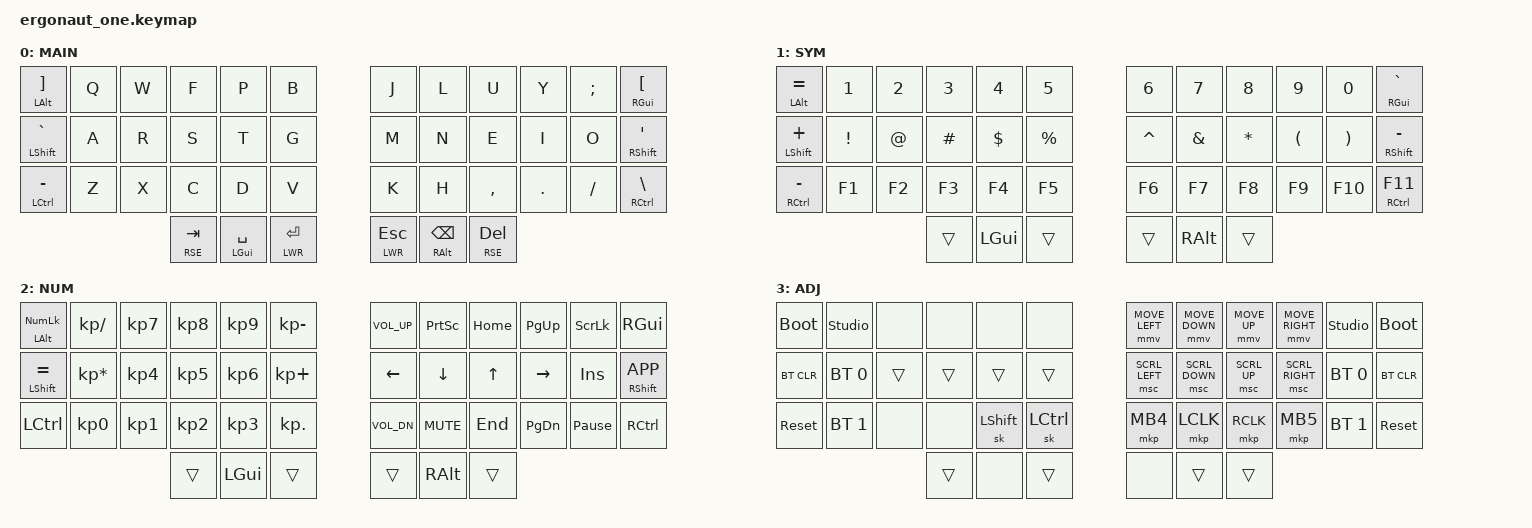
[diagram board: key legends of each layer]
#include <behaviors.dtsi>
#include <dt-bindings/zmk/bt.h>
#include <dt-bindings/zmk/keys.h>
#include <dt-bindings/zmk/pointing.h>

#define DEF 0
#define LWR 1
#define RSE 2
#define ADJ 3

&lt { quick-tap-ms = <200>; };

&mt { quick-tap-ms = <200>; };

/ {
    conditional_layers {
        compatible = "zmk,conditional-layers";

        tri-layer {
            if-layers = <LWR RSE>;
            then-layer = <ADJ>;
        };
    };

    keymap {
        compatible = "zmk,keymap";

        default_layer {
            display-name = "MAIN";
            bindings = <
&mt LALT RBKT     &kp Q  &kp W  &kp F        &kp P           &kp B        &kp J        &kp L          &kp U        &kp Y    &kp SEMI  &mt RGUI LBKT
&mt LSHIFT GRAVE  &kp A  &kp R  &kp S        &kp T           &kp G        &kp M        &kp N          &kp E        &kp I    &kp O     &mt RSHIFT SQT
&mt LCTRL MINUS   &kp Z  &kp X  &kp C        &kp D           &kp V        &kp K        &kp H          &kp COMMA    &kp DOT  &kp FSLH  &mt RCTRL BSLH
                                &lt RSE TAB  &mt LGUI SPACE  &lt LWR RET  &lt LWR ESC  &mt RALT BSPC  &lt RSE DEL
            >;
        };

        lower_layer {
            display-name = "SYM";
            bindings = <
&mt LALT EQUAL   &kp NUMBER_1  &kp NUMBER_2  &kp NUMBER_3  &kp NUMBER_4  &kp N5     &kp NUMBER_6  &kp N7    &kp N8    &kp N9    &kp N0    &mt RGUI GRAVE
&mt LSHIFT PLUS  &kp EXCL      &kp AT        &kp HASH      &kp DLLR      &kp PRCNT  &kp CARET     &kp AMPS  &kp STAR  &kp LPAR  &kp RPAR  &mt RSHFT MINUS
&mt RCTRL MINUS  &kp F1        &kp F2        &kp F3        &kp F4        &kp F5     &kp F6        &kp F7    &kp F8    &kp F9    &kp F10   &mt RCTRL F11
                                             &trans        &kp LGUI      &trans     &trans        &kp RALT  &trans
            >;
        };

        raise_layer {
            display-name = "NUM";
            bindings = <
&mt LALT KP_NUM   &kp KP_SLASH     &kp KP_N7  &kp KP_N8  &kp KP_N9  &kp KP_MINUS  &kp C_VOL_UP  &kp PRINTSCREEN  &kp HOME  &kp PG_UP  &kp SLCK         &kp RGUI
&mt LSHIFT EQUAL  &kp KP_MULTIPLY  &kp KP_N4  &kp KP_N5  &kp KP_N6  &kp KP_PLUS   &kp LEFT      &kp DOWN         &kp UP    &kp RIGHT  &kp INS          &mt RSHIFT K_APP
&kp LCTRL         &kp KP_N0        &kp KP_N1  &kp KP_N2  &kp KP_N3  &kp KP_DOT    &kp C_VOL_DN  &kp C_MUTE       &kp END   &kp PG_DN  &kp PAUSE_BREAK  &kp RCTRL
                                              &trans     &kp LGUI   &trans        &trans        &kp RALT         &trans
            >;
        };

        adjust_layer {
            display-name = "ADJ";
            bindings = <
&bootloader  &studio_unlock  &none   &none   &none      &none      &mmv MOVE_LEFT  &mmv MOVE_DOWN  &mmv MOVE_UP  &mmv MOVE_RIGHT  &studio_unlock  &bootloader
&bt BT_CLR   &bt BT_SEL 0    &trans  &trans  &trans     &trans     &msc SCRL_LEFT  &msc SCRL_DOWN  &msc SCRL_UP  &msc SCRL_RIGHT  &bt BT_SEL 0    &bt BT_CLR
&sys_reset   &bt BT_SEL 1    &none   &none   &sk LSHFT  &sk LCTRL  &mkp MB4        &mkp LCLK       &mkp RCLK     &mkp MB5         &bt BT_SEL 1    &sys_reset
                                     &trans  &none      &trans     &none           &trans          &trans
            >;
        };
    };
};
